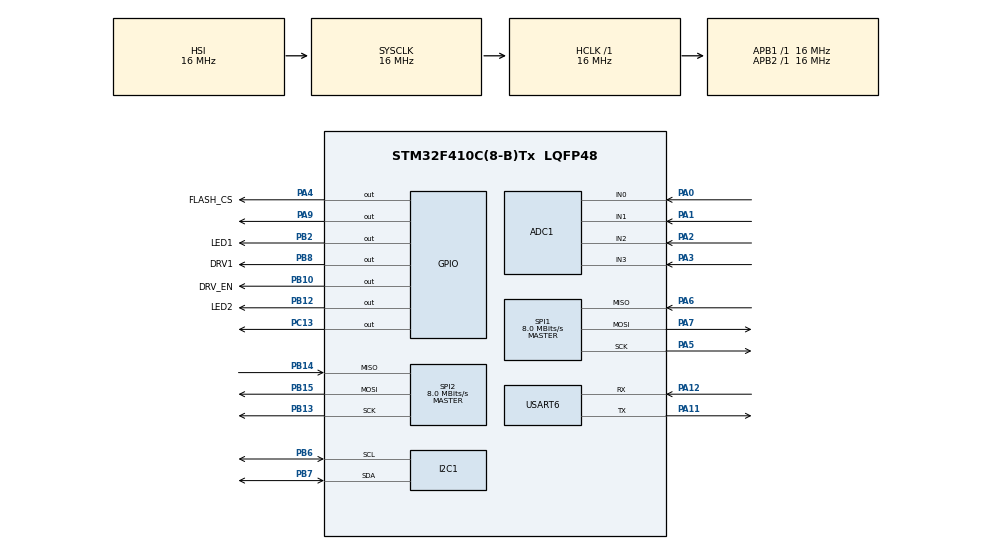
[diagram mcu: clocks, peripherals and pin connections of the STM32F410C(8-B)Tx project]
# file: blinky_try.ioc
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ADC1.Channel-0\#ChannelRegularConversion=ADC_CHANNEL_0
ADC1.NbrOfConversion=1
ADC1.NbrOfConversionFlag=1
ADC1.Rank-0\#ChannelRegularConversion=1
ADC1.SamplingTime-0\#ChannelRegularConversion=ADC_SAMPLETIME_3CYCLES
ADC1.ScanConvMode=ENABLE
ADC1.master=1
Dma.Request0=USART6_RX
Dma.USART6_RX.0.Direction=DMA_PERIPH_TO_MEMORY
Dma.USART6_RX.0.FIFOMode=DMA_FIFOMODE_DISABLE
Dma.USART6_RX.0.Instance=DMA2_Stream1
Dma.USART6_RX.0.MemDataAlignment=DMA_MDATAALIGN_BYTE
Dma.USART6_RX.0.MemInc=DMA_MINC_ENABLE
Dma.USART6_RX.0.Mode=DMA_CIRCULAR
Dma.USART6_RX.0.PeriphDataAlignment=DMA_PDATAALIGN_BYTE
Dma.USART6_RX.0.PeriphInc=DMA_PINC_DISABLE
Dma.USART6_RX.0.Priority=DMA_PRIORITY_HIGH
FREERTOS.Tasks01=defaultTask,24,128,StartDefaultTask,Default,NULL,Dynamic,NULL,NULL
FREERTOS.configCHECK_FOR_STACK_OVERFLOW=2
FREERTOS.configTOTAL_HEAP_SIZE=16384
Mcu.Family=STM32F4
Mcu.Name=STM32F410C(8-B)Tx
Mcu.Package=LQFP48
NVIC.DMA2_Stream1_IRQn=true\:5\:0\:false\:false\:true\:true\:false\:true\:true
NVIC.PriorityGroup=NVIC_PRIORITYGROUP_4
NVIC.USART6_IRQn=true\:5\:0\:false\:false\:true\:true\:true\:true\:true
PA0-WKUP.Signal=ADCx_IN0
PA1.Signal=ADCx_IN1
PA11.Mode=Asynchronous
PA11.Signal=USART6_TX
PA12.Mode=Asynchronous
PA12.Signal=USART6_RX
PA13.Mode=Serial_Wire
PA13.Signal=SYS_JTMS-SWDIO
PA14.Mode=Serial_Wire
PA14.Signal=SYS_JTCK-SWCLK
PA2.Signal=ADCx_IN2
PA3.Signal=ADCx_IN3
PA4.GPIO_Label=FLASH_CS
PA4.Signal=GPIO_Output
PA5.Mode=Full_Duplex_Master
PA5.Signal=SPI1_SCK
PA6.Mode=Full_Duplex_Master
PA6.Signal=SPI1_MISO
PA7.Mode=Full_Duplex_Master
PA7.Signal=SPI1_MOSI
PA9.Signal=GPIO_Output
PB10.GPIO_Label=DRV_EN
PB10.Signal=GPIO_Output
PB12.GPIO_Label=LED2
PB12.Signal=GPIO_Output
PB13.Mode=Full_Duplex_Master
PB13.Signal=SPI2_SCK
PB14.Mode=Full_Duplex_Master
PB14.Signal=SPI2_MISO
PB15.Mode=Full_Duplex_Master
PB15.Signal=SPI2_MOSI
PB2.GPIO_Label=LED1
PB2.Signal=GPIO_Output
PB3.Signal=SYS_JTDO-SWO
PB6.Mode=I2C
PB6.Signal=I2C1_SCL
PB7.Mode=I2C
PB7.Signal=I2C1_SDA
PB8.GPIO_Label=DRV1
PB8.Signal=GPIO_Output
PC13-ANTI_TAMP.Signal=GPIO_Output
ProjectManager.HeapSize=0x200
ProjectManager.StackSize=0x400
ProjectManager.TargetToolchain=STM32CubeIDE
RCC.AHBFreq_Value=16000000
RCC.APB1Freq_Value=16000000
RCC.APB2Freq_Value=16000000
RCC.CortexFreq_Value=16000000
RCC.HSE_VALUE=25000000
RCC.HSI_VALUE=16000000
RCC.LSE_VALUE=32768
RCC.SYSCLKFreq_VALUE=16000000
RCC.VCOOutputFreq_Value=192000000
SH.ADCx_IN0.0=ADC1_IN0,IN0
SH.ADCx_IN1.0=ADC1_IN1,IN1
SH.ADCx_IN2.0=ADC1_IN2,IN2
SH.ADCx_IN3.0=ADC1_IN3,IN3
SPI1.CalculateBaudRate=8.0 MBits/s
SPI1.Direction=SPI_DIRECTION_2LINES
SPI1.Mode=SPI_MODE_MASTER
SPI1.VirtualType=VM_MASTER
SPI2.CalculateBaudRate=8.0 MBits/s
SPI2.Direction=SPI_DIRECTION_2LINES
SPI2.Mode=SPI_MODE_MASTER
SPI2.VirtualType=VM_MASTER
USART6.VirtualMode=VM_ASYNC
VP_FREERTOS_VS_CMSIS_V2.Mode=CMSIS_V2
board=custom

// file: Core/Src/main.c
/* USER CODE BEGIN Header */
/**
  ******************************************************************************
  * @file           : main.c
  * @brief          : Main program body
  ******************************************************************************
  * @attention
  *
  * Copyright (c) 2025 STMicroelectronics.
  * All rights reserved.
  *
  * This software is licensed under terms that can be found in the LICENSE file
  * in the root directory of this software component.
  * If no LICENSE file comes with this software, it is provided AS-IS.
  *
  ******************************************************************************
  */
/* USER CODE END Header */
#include "main.h"
#include "cmsis_os.h"
#include "adc.h"
#include "dma.h"
#include "i2c.h"
#include "spi.h"
#include "usart.h"
#include "gpio.h"

/* USER CODE BEGIN Includes */
#include "cmsis_os2.h"
#include "FreeRTOS.h"
#include "adc.h"
#include "cli.h"
#include "st7032.h"
#include "i2c.h"
#include "FreeRTOS.h"
#include "task.h"  // This is required to declare TaskHandle_t
#include "string.h"
#include "spi.h"
#include "log_flash.h"
#include <stdio.h>
#include "oled.h"

/* USER CODE END Includes */

/* USER CODE BEGIN PV */
extern ADC_HandleTypeDef hadc1;
extern UART_HandleTypeDef huart6;

/* USER CODE END PV */

void SystemClock_Config(void);
void MX_FREERTOS_Init(void);
/* USER CODE BEGIN PFP */
void AdcTask(void *argument);
/* USER CODE END PFP */

int main(void)
{

  /* MCU Configuration--------------------------------------------------------*/

  /* Reset of all peripherals, Initializes the Flash interface and the Systick. */
  HAL_Init();

  /* USER CODE BEGIN Init */
  HAL_GPIO_WritePin(GPIOB, GPIO_PIN_12, GPIO_PIN_SET);  // Turn on LED (assuming active HIGH)
  oled_init();
  oled_test_basic_i2c();
  oled_test_draw_line();

  /* USER CODE END Init */

  /* Configure the system clock */
  SystemClock_Config();

  /* Initialize all configured peripherals */
  MX_GPIO_Init();
  MX_DMA_Init();
  MX_ADC1_Init();
  MX_USART6_UART_Init();
  MX_I2C1_Init();
  MX_SPI1_Init();
  MX_SPI2_Init();
  oled_init();
  /* USER CODE BEGIN 2 */
  st7032_init(&hi2c1);
  st7032_clear();
  /* USER CODE END 2 */

  /* Init scheduler */
  osKernelInitialize();  /* Call init function for freertos objects (in cmsis_os2.c) */
  HAL_UART_Transmit(&huart6, (uint8_t*)"Before RTOS Init\r\n", 19, HAL_MAX_DELAY);
  MX_FREERTOS_Init();
  HAL_UART_Transmit(&huart6, (uint8_t*)"Before RTOS Start\r\n", 20, HAL_MAX_DELAY);
  osKernelStart();
  HAL_UART_Transmit(&huart6, (uint8_t*)"This should never print\r\n", 26, HAL_MAX_DELAY);

  /* Start scheduler */
  osKernelStart();

  /* We should never get here as control is now taken by the scheduler */

  /* Infinite loop */
  /* USER CODE BEGIN WHILE */
  if (HAL_I2C_IsDeviceReady(&hi2c1, ST7032_ADDR, 1, 100) != HAL_OK) {
      const char *err_msg = "ERROR: ST7032 not responding on I2C\r\n";
      HAL_UART_Transmit(&huart6, (uint8_t*)err_msg, strlen(err_msg), HAL_MAX_DELAY);
  }
    /* USER CODE END WHILE */

    /* USER CODE BEGIN 3 */
  // Nothing here — RTOS is running
  /* USER CODE END 3 */
}

void SystemClock_Config(void)
{
  RCC_OscInitTypeDef RCC_OscInitStruct = {0};
  RCC_ClkInitTypeDef RCC_ClkInitStruct = {0};

  /** Configure the main internal regulator output voltage
  */
  __HAL_RCC_PWR_CLK_ENABLE();
  __HAL_PWR_VOLTAGESCALING_CONFIG(PWR_REGULATOR_VOLTAGE_SCALE1);

  /** Initializes the RCC Oscillators according to the specified parameters
  * in the RCC_OscInitTypeDef structure.
  */
  RCC_OscInitStruct.OscillatorType = RCC_OSCILLATORTYPE_HSI;
  RCC_OscInitStruct.HSIState = RCC_HSI_ON;
  RCC_OscInitStruct.HSICalibrationValue = RCC_HSICALIBRATION_DEFAULT;
  RCC_OscInitStruct.PLL.PLLState = RCC_PLL_NONE;
  if (HAL_RCC_OscConfig(&RCC_OscInitStruct) != HAL_OK)
  {
    Error_Handler();
  }

  /** Initializes the CPU, AHB and APB buses clocks
  */
  RCC_ClkInitStruct.ClockType = RCC_CLOCKTYPE_HCLK|RCC_CLOCKTYPE_SYSCLK
                              |RCC_CLOCKTYPE_PCLK1|RCC_CLOCKTYPE_PCLK2;
  RCC_ClkInitStruct.SYSCLKSource = RCC_SYSCLKSOURCE_HSI;
  RCC_ClkInitStruct.AHBCLKDivider = RCC_SYSCLK_DIV1;
  RCC_ClkInitStruct.APB1CLKDivider = RCC_HCLK_DIV1;
  RCC_ClkInitStruct.APB2CLKDivider = RCC_HCLK_DIV1;

  if (HAL_RCC_ClockConfig(&RCC_ClkInitStruct, FLASH_LATENCY_0) != HAL_OK)
  {
    Error_Handler();
  }
}

/* USER CODE BEGIN 4 */
// Your additional helper functions go here
void AdcTask(void *argument) {
  uint32_t adc_val_0 = 0;
  uint32_t adc_val_1 = 0;
  ADC_ChannelConfTypeDef sConfig = {0};
  char msg[64];

  for (;;) {
    // Read from PA0
    sConfig.Channel = ADC_CHANNEL_0;
    sConfig.Rank = 1;
    sConfig.SamplingTime = ADC_SAMPLETIME_3CYCLES;
    HAL_ADC_ConfigChannel(&hadc1, &sConfig);
    HAL_ADC_Start(&hadc1);
    HAL_ADC_PollForConversion(&hadc1, HAL_MAX_DELAY);
    adc_val_0 = HAL_ADC_GetValue(&hadc1);

    // Read from PA1
    sConfig.Channel = ADC_CHANNEL_1;
    HAL_ADC_ConfigChannel(&hadc1, &sConfig);
    HAL_ADC_Start(&hadc1);
    HAL_ADC_PollForConversion(&hadc1, HAL_MAX_DELAY);
    adc_val_1 = HAL_ADC_GetValue(&hadc1);

    snprintf(msg, sizeof(msg), "ADC0: %lu, ADC1: %lu\r\n", adc_val_0, adc_val_1);
    HAL_UART_Transmit(&huart6, (uint8_t*)msg, strlen(msg), HAL_MAX_DELAY);

    vTaskDelay(pdMS_TO_TICKS(500));
  }
}

/* USER CODE END 4 */

void Error_Handler(void)
{
  __disable_irq();
  while (1)
  {
  }
}
#ifdef USE_FULL_ASSERT
/**
  * @brief  Reports the name of the source file and the source line number
  *         where the assert_param error has occurred.
  * @param  file: pointer to the source file name
  * @param  line: assert_param error line source number
  * @retval None
  */
void assert_failed(uint8_t *file, uint32_t line)
{
  /* USER CODE BEGIN 6 */
  // Optional: log or blink LED here
  /* USER CODE END 6 */
}
#endif /* USE_FULL_ASSERT */

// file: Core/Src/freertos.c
/* USER CODE BEGIN Header */
/**
  ******************************************************************************
  * File Name          : freertos.c
  * Description        : Code for freertos applications
  ******************************************************************************
  * @attention
  *
  * Copyright (c) 2025 STMicroelectronics.
  * All rights reserved.
  *
  * This software is licensed under terms that can be found in the LICENSE file
  * in the root directory of this software component.
  * If no LICENSE file comes with this software, it is provided AS-IS.
  *
  ******************************************************************************
  */
/* USER CODE END Header */

#include "FreeRTOS.h"
#include "task.h"
#include "main.h"
#include "cmsis_os.h"

/* USER CODE BEGIN Includes */
#include "usart.h"
#include "cli.h"
#include "adc.h"
#include "st7032.h"
#include "log_flash.h"
#include "ads1115.h"
#include "oled.h"
#include "moisture.h"

/* USER CODE END Includes */

/* Definitions for defaultTask */
osThreadId_t defaultTaskHandle;
const osThreadAttr_t defaultTask_attributes = {
  .name = "defaultTask",
  .stack_size = 128 * 4,
  .priority = (osPriority_t) osPriorityNormal,
};
/* USER CODE BEGIN FunctionPrototypes */
extern void CLI_Task(void *argument);
extern UART_HandleTypeDef huart6;
void MoistureDisplayTask(void *argument);  // forward declaration
void MoistureLogTask(void *argument);  // forward declaration for logging task
void OledDisplayTask(void *argument);

/* USER CODE END FunctionPrototypes */

void StartDefaultTask(void *argument);

void MX_FREERTOS_Init(void); /* (MISRA C 2004 rule 8.1) */

/* Hook prototypes */
void vApplicationStackOverflowHook(xTaskHandle xTask, signed char *pcTaskName);

/* USER CODE BEGIN 4 */
void vApplicationStackOverflowHook(xTaskHandle xTask, signed char *pcTaskName)
{
   /* Run time stack overflow checking is performed if
   configCHECK_FOR_STACK_OVERFLOW is defined to 1 or 2. This hook function is
   called if a stack overflow is detected. */
}
/* USER CODE END 4 */

void MX_FREERTOS_Init(void) {
  /* USER CODE BEGIN Init */
  st7032_init_bar_chars();

  /* USER CODE END Init */

  /* Create the thread(s) */
  /* creation of defaultTask */
  defaultTaskHandle = osThreadNew(StartDefaultTask, NULL, &defaultTask_attributes);
  /* USER CODE BEGIN RTOS_THREADS */
  xTaskCreate(MoistureDisplayTask, "Moisture", 256, NULL, 1, NULL);
  xTaskCreate(MoistureLogTask, "LogTask", 512, NULL, 1, NULL);
  xTaskCreate(OledDisplayTask, "OLED", 256, NULL, 1, NULL);

extern void CLI_Task(void *argument);

osThreadId_t cliTaskHandle;
const osThreadAttr_t cliTask_attributes = {
  .name = "cliTask",
  .stack_size = 1024 * 4,  // try increasing if CLI fails to run
  .priority = (osPriority_t) osPriorityNormal
};

cliTaskHandle = osThreadNew(CLI_Task, NULL, &cliTask_attributes);
if (cliTaskHandle == NULL) {
    HAL_UART_Transmit(&huart6, (uint8_t*)"CLI task creation FAILED\r\n", 27, HAL_MAX_DELAY);
} else {
    HAL_UART_Transmit(&huart6, (uint8_t*)"CLI task created OK\r\n", 22, HAL_MAX_DELAY);
}

  /* USER CODE END RTOS_THREADS */

}

/* USER CODE BEGIN Header_StartDefaultTask */
void StartDefaultTask(void *argument) {
  for(;;) {
    osDelay(1);
  }
}
/* USER CODE END Header_StartDefaultTask */

/* USER CODE BEGIN Application */
void MoistureDisplayTask(void *argument) {
    ADC_ChannelConfTypeDef sConfig = {0};
    uint32_t val_m1 = 0, val_m2 = 0;
    char line[17];

    for (;;) {
        // M1 = PA0
        sConfig.Channel = ADC_CHANNEL_0;
        sConfig.Rank = 1;
        sConfig.SamplingTime = ADC_SAMPLETIME_3CYCLES;
        HAL_ADC_ConfigChannel(&hadc1, &sConfig);
        HAL_ADC_Start(&hadc1);
        HAL_ADC_PollForConversion(&hadc1, HAL_MAX_DELAY);
        val_m1 = HAL_ADC_GetValue(&hadc1);

        // M2 = PA1
        sConfig.Channel = ADC_CHANNEL_1;
        HAL_ADC_ConfigChannel(&hadc1, &sConfig);
        HAL_ADC_Start(&hadc1);
        HAL_ADC_PollForConversion(&hadc1, HAL_MAX_DELAY);
        val_m2 = HAL_ADC_GetValue(&hadc1);

        // Convert to percentage (wet = 100%, dry = 0%)
        uint8_t m1_pct = (val_m1 >= m1_cal.wet) ? 100 :
                         (val_m1 <= m1_cal.dry) ? 0 :
                         100 * (val_m1 - m1_cal.dry) / (m1_cal.wet - m1_cal.dry);

        uint8_t m2_pct = (val_m2 >= m2_cal.wet) ? 100 :
                         (val_m2 <= m2_cal.dry) ? 0 :
                         100 * (val_m2 - m2_cal.dry) / (m2_cal.wet - m2_cal.dry);

        // Update LCD
        st7032_draw_moisture_bar(0, m1_pct); // Line 0
        st7032_draw_moisture_bar(1, m2_pct); // Line 1

        vTaskDelay(pdMS_TO_TICKS(2000));  // Update every 2s
    }
}

void MoistureLogTask(void *argument) {
    TickType_t lastWakeTime = xTaskGetTickCount();

    for (;;) {
        log_entry_t entry;

        // --- Read M1 (PA0)
        ADC_ChannelConfTypeDef sConfig = {0};
        sConfig.Channel = ADC_CHANNEL_0;
        sConfig.Rank = 1;
        sConfig.SamplingTime = ADC_SAMPLETIME_3CYCLES;
        HAL_ADC_ConfigChannel(&hadc1, &sConfig);
        HAL_ADC_Start(&hadc1);
        HAL_ADC_PollForConversion(&hadc1, HAL_MAX_DELAY);
        entry.m1 = HAL_ADC_GetValue(&hadc1);

        // --- Read M2 (PA1)
        sConfig.Channel = ADC_CHANNEL_1;
        HAL_ADC_ConfigChannel(&hadc1, &sConfig);
        HAL_ADC_Start(&hadc1);
        HAL_ADC_PollForConversion(&hadc1, HAL_MAX_DELAY);
        entry.m2 = HAL_ADC_GetValue(&hadc1);

        // --- Read ADS channels
        for (uint8_t ch = 0; ch < 4; ch++) {
            entry.ads[ch] = ads_read_channel(ch);  // must be defined in cli.c or elsewhere
        }

        entry.timestamp_ms = xTaskGetTickCount();

        flash_write_log_entry(&entry);

        vTaskDelayUntil(&lastWakeTime, pdMS_TO_TICKS(60000)); // log every 60 seconds
    }
}

/* USER CODE END Application */
